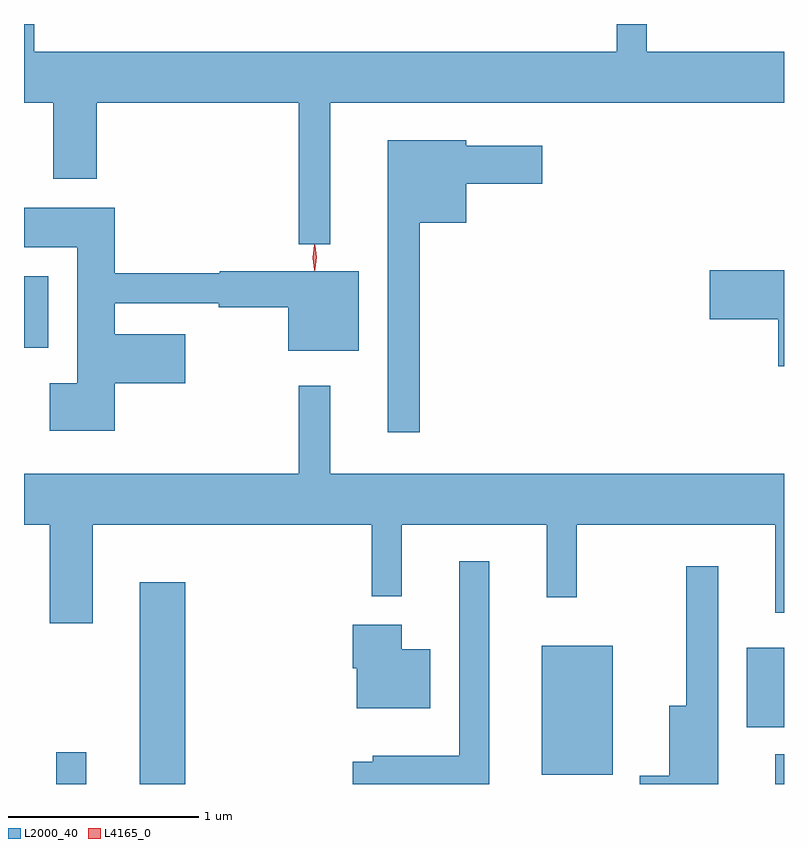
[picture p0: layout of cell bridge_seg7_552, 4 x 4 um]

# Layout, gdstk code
import gdstk
lib = gdstk.Library(unit=1e-6, precision=1e-09)
def R(c, l, rs):  # rectangles x0, y0, x1, y1
    for r in rs: c.add(gdstk.rectangle(r[:2], r[2:], *l))
def P(c, l, *ps):  # polygons
    for p in ps: c.add(gdstk.Polygon(p, *l))
L2000_40 = (2000, 40)
L4165_0 = (4165, 0)

bridge_seg7_552 = lib.new_cell('bridge_seg7_552')
R(bridge_seg7_552, L2000_40, [(975.906,1764.011,976.064,1764.178), (976.346,1764.011,976.584,1765.074), (979.691,1764.011,979.736,1764.168), (978.461,1764.061,978.834,1764.739), (979.541,1764.311,979.736,1764.729), (975.736,1766.306,975.864,1766.684)])
P(bridge_seg7_552, L2000_40, [(977.349,1767.596),(979.736,1767.596),(979.736,1767.864),(979.014,1767.864),(979.014,1768.011),(978.856,1768.011),(978.856,1767.864),(975.789,1767.864),(975.789,1768.011),(975.736,1768.011),(975.736,1767.596),(975.891,1767.596),(975.891,1767.196),(976.119,1767.196),(976.119,1767.596),(977.181,1767.596),(977.181,1766.853),(977.349,1766.853)],
  [(977.819,1766.966),(978.064,1766.966),(978.064,1767.171),(978.464,1767.171),(978.464,1767.369),(978.064,1767.369),(978.064,1767.399),(977.651,1767.399),(977.651,1765.863),(977.819,1765.863)],
  [(976.214,1766.121),(976.584,1766.121),(976.584,1766.379),(976.214,1766.379),(976.214,1766.541),(976.761,1766.541),(976.761,1766.521),(977.126,1766.521),(977.126,1766.291),(977.499,1766.291),(977.499,1766.709),(976.765,1766.709),(976.765,1766.699),(976.214,1766.699),(976.214,1767.044),(975.736,1767.044),(975.736,1766.836),(976.016,1766.836),(976.016,1766.119),(975.871,1766.119),(975.871,1765.871),(976.214,1765.871)],
  [(979.736,1766.714),(979.346,1766.714),(979.346,1766.456),(979.706,1766.456),(979.706,1766.211),(979.736,1766.211)],
  [(976.099,1765.376),(977.566,1765.376),(977.566,1764.998),(977.724,1764.998),(977.724,1765.376),(978.486,1765.376),(978.486,1764.993),(978.644,1764.993),(978.644,1765.376),(979.691,1765.376),(979.691,1764.913),(979.736,1764.913),(979.736,1765.644),(977.349,1765.644),(977.349,1766.108),(977.181,1766.108),(977.181,1765.644),(975.736,1765.644),(975.736,1765.376),(975.871,1765.376),(975.871,1764.856),(976.099,1764.856)],
  [(978.184,1765.183),(978.026,1765.183),(978.026,1764.159),(977.571,1764.159),(977.571,1764.129),(977.466,1764.129),(977.466,1764.011),(978.184,1764.011)],
  [(979.389,1765.158),(979.221,1765.158),(979.221,1764.424),(979.131,1764.424),(979.131,1764.054),(978.976,1764.054),(978.976,1764.011),(979.389,1764.011)],
  [(977.874,1764.719),(977.724,1764.719),(977.724,1764.849),(977.466,1764.849),(977.466,1764.621),(977.486,1764.621),(977.486,1764.411),(977.874,1764.411)])
P(bridge_seg7_552, L4165_0, [(977.265,1766.713),(977.264,1766.714),(977.255,1766.782),(977.264,1766.849),(977.265,1766.85),(977.265,1766.849),(977.275,1766.782),(977.265,1766.714)],
  [(977.268,1766.718),(977.268,1766.719),(977.258,1766.783),(977.267,1766.846),(977.267,1766.847),(977.268,1766.846),(977.278,1766.783),(977.269,1766.719)])

lib.write_gds('bridge_seg7_552.gds')
